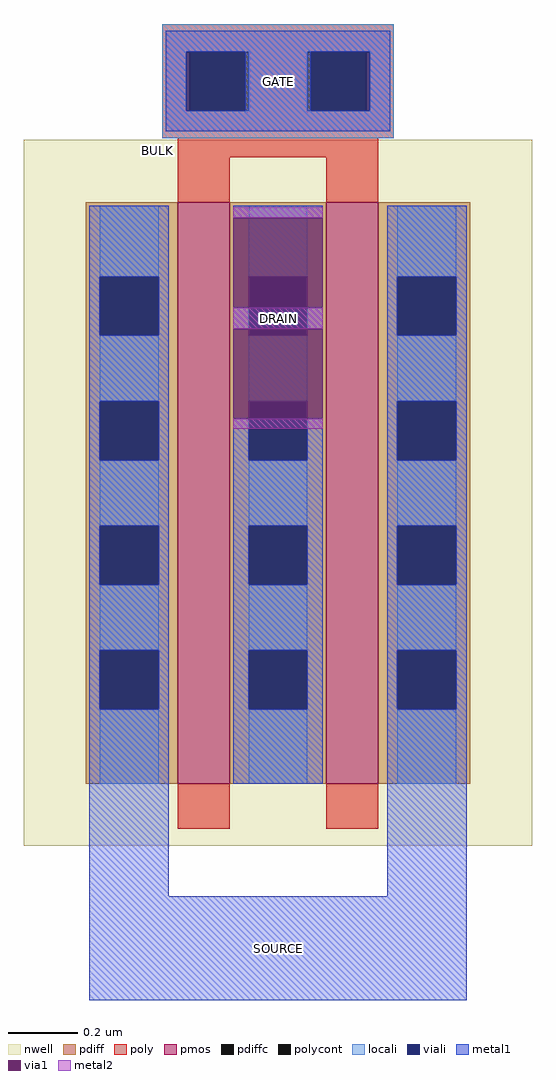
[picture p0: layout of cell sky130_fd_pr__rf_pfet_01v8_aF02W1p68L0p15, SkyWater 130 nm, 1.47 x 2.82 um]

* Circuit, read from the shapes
.subckt sky130_fd_pr__rf_pfet_01v8_aF02W1p68L0p15 BULK DRAIN GATE SOURCE
XM1 DRAIN GATE SOURCE BULK sky130_fd_pr__pfet_01v8 w=1.68 l=0.15 m=2
.ends

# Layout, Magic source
magic
tech sky130A
magscale 1 2
<< nwell >>
rect 0 0 294 408
<< pmos >>
rect 89 36 119 372
rect 175 36 205 372
<< pdiff >>
rect 36 329 89 372
rect 36 295 44 329
rect 78 295 89 329
rect 36 257 89 295
rect 36 223 44 257
rect 78 223 89 257
rect 36 185 89 223
rect 36 151 44 185
rect 78 151 89 185
rect 36 113 89 151
rect 36 79 44 113
rect 78 79 89 113
rect 36 36 89 79
rect 119 329 175 372
rect 119 295 130 329
rect 164 295 175 329
rect 119 257 175 295
rect 119 223 130 257
rect 164 223 175 257
rect 119 185 175 223
rect 119 151 130 185
rect 164 151 175 185
rect 119 113 175 151
rect 119 79 130 113
rect 164 79 175 113
rect 119 36 175 79
rect 205 329 258 372
rect 205 295 216 329
rect 250 295 258 329
rect 205 257 258 295
rect 205 223 216 257
rect 250 223 258 257
rect 205 185 258 223
rect 205 151 216 185
rect 250 151 258 185
rect 205 113 258 151
rect 205 79 216 113
rect 250 79 258 113
rect 205 36 258 79
<< pdiffc >>
rect 44 295 78 329
rect 44 223 78 257
rect 44 151 78 185
rect 44 79 78 113
rect 130 295 164 329
rect 130 223 164 257
rect 130 151 164 185
rect 130 79 164 113
rect 216 295 250 329
rect 216 223 250 257
rect 216 151 250 185
rect 216 79 250 113
<< poly >>
rect 80 459 214 475
rect 80 425 96 459
rect 130 425 164 459
rect 198 425 214 459
rect 80 409 214 425
rect 89 398 205 409
rect 89 372 119 398
rect 175 372 205 398
rect 89 10 119 36
rect 175 10 205 36
<< polycont >>
rect 96 425 130 459
rect 164 425 198 459
<< locali >>
rect 80 459 214 475
rect 80 425 94 459
rect 130 425 164 459
rect 200 425 214 459
rect 80 409 214 425
rect 44 329 78 370
rect 44 257 78 295
rect 44 185 78 223
rect 44 113 78 151
rect 44 36 78 79
rect 130 329 164 370
rect 130 257 164 295
rect 130 185 164 223
rect 130 113 164 151
rect 130 36 164 79
rect 216 329 250 370
rect 216 257 250 295
rect 216 185 250 223
rect 216 113 250 151
rect 216 36 250 79
<< viali >>
rect 94 425 96 459
rect 96 425 128 459
rect 166 425 198 459
rect 198 425 200 459
rect 44 295 78 329
rect 44 223 78 257
rect 44 151 78 185
rect 44 79 78 113
rect 130 295 164 329
rect 130 223 164 257
rect 130 151 164 185
rect 130 79 164 113
rect 216 295 250 329
rect 216 223 250 257
rect 216 151 250 185
rect 216 79 250 113
<< metal1 >>
rect 82 459 212 471
rect 82 425 94 459
rect 128 425 166 459
rect 200 425 212 459
rect 82 413 212 425
rect 38 329 84 370
rect 38 295 44 329
rect 78 295 84 329
rect 38 257 84 295
rect 38 223 44 257
rect 78 223 84 257
rect 38 185 84 223
rect 38 151 44 185
rect 78 151 84 185
rect 38 113 84 151
rect 38 79 44 113
rect 78 79 84 113
rect 38 -29 84 79
rect 121 363 173 370
rect 121 299 130 311
rect 164 299 173 311
rect 121 223 130 247
rect 164 223 173 247
rect 121 185 173 223
rect 121 151 130 185
rect 164 151 173 185
rect 121 113 173 151
rect 121 79 130 113
rect 164 79 173 113
rect 121 36 173 79
rect 210 329 256 370
rect 210 295 216 329
rect 250 295 256 329
rect 210 257 256 295
rect 210 223 216 257
rect 250 223 256 257
rect 210 185 256 223
rect 210 151 216 185
rect 250 151 256 185
rect 210 113 256 151
rect 210 79 216 113
rect 250 79 256 113
rect 210 -29 256 79
rect 38 -89 256 -29
<< via1 >>
rect 121 329 173 363
rect 121 311 130 329
rect 130 311 164 329
rect 164 311 173 329
rect 121 295 130 299
rect 130 295 164 299
rect 164 295 173 299
rect 121 257 173 295
rect 121 247 130 257
rect 130 247 164 257
rect 164 247 173 257
<< metal2 >>
rect 121 363 173 369
rect 121 299 173 311
rect 121 241 173 247
<< labels >>
flabel metal2 s 121 241 173 369 0 FreeSans 400 0 0 0 DRAIN
port 2 nsew
flabel metal1 s 38 -89 256 -29 0 FreeSans 400 0 0 0 SOURCE
port 4 nsew
flabel metal1 s 82 413 212 471 0 FreeSans 400 0 0 0 GATE
port 3 nsew
flabel nwell s 74 399 81 405 0 FreeSans 400 0 0 0 BULK
port 1 nsew
<< properties >>
string GDS_FILE $PDKPATH/libs.ref/sky130_fd_pr/gds/sky130_fd_pr.gds
string GDS_END 9186774
string GDS_START 9181730
string path 0.950 -1.475 6.400 -1.475 
<< end >>
